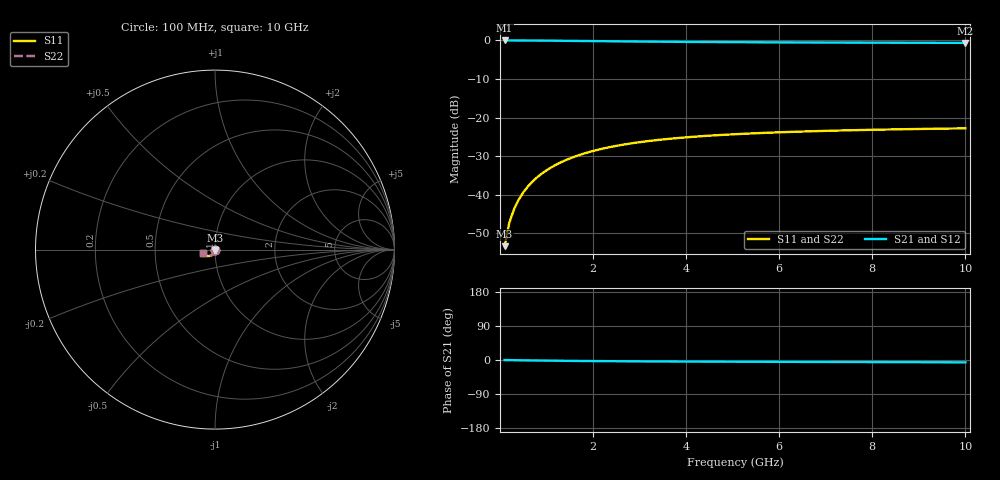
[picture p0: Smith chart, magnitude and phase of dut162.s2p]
! Touchstone file exported from HFSS 2024.1.0
!  File:  C:/UserFiles/LocalFiles/RDL_TSV_Batchsim/temp_TSV1_162_1778766070.aedt
!  Generated:  09:47:28 PM May 14, 2026
!  Design:  TSV1
!  Project:  temp_TSV1_162_1778766070
!  Setup:  Setup1
!  Solution:  Sweep
! Variables:
!  dtsv = 14.18um
!  hbump = 3um
!  htsv = 95.73um
!  lrdl = 252.1521522um
!  p = 40
!  p1 = 50.83um
!  t = 500um
!  trdl = 3um
!  wrdl = 24.89489489um
# GHz S MA R 50.000000
! Terminal data exported
! Port[1] = TSV22_T1
! Port[2] = TSV22_T2
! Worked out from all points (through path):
!   100 points, 100 MHz to 10 GHz, reference 50 ohm
!   highest |S21| = 0.00 dB at 100 MHz (marker M1); lowest = -0.6 dB at 10 GHz (marker M2)
!   lowest |S11| = -53.3 dB at 100 MHz (marker M3), VSWR 1.00, Z = 50 - j0.215 ohm
!   |S11| at or under -10 dB: start of sweep to end of sweep
!   |S22| runs from -53.3 to -22.8 dB; largest |S21 - S12| = 6e-15
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0.1  0.002152 -89.3  0.9998 -0.2  0.9998 -0.2  0.002152 -89.3
! Gamma 0 0 0 0
! Port Impedance 50 0 50 0
0.2  0.004302 -92.1  0.9996 -0.3  0.9996 -0.3  0.004302 -92.1
0.3  0.006449 -94.2  0.9993 -0.5  0.9993 -0.5  0.006449 -94.2
0.4  0.008582 -96.1  0.9988 -0.7  0.9988 -0.7  0.008582 -96.1
0.5  0.01069 -98.0  0.9982 -0.9  0.9982 -0.9  0.01069 -98.0
0.6  0.01278 -99.8  0.9975 -1.0  0.9975 -1.0  0.01278 -99.8
0.7  0.01482 -101.6  0.9967 -1.2  0.9967 -1.2  0.01482 -101.6
0.8  0.01683 -103.3  0.9958 -1.3  0.9958 -1.3  0.01683 -103.3
0.9  0.01879 -105.0  0.9949 -1.5  0.9949 -1.5  0.01879 -105.0
1.1  0.02257 -108.3  0.9927 -1.8  0.9927 -1.8  0.02257 -108.3
1.4  0.02784 -112.9  0.9891 -2.2  0.9891 -2.2  0.02784 -112.9
1.6  0.03108 -115.8  0.9865 -2.4  0.9865 -2.4  0.03108 -115.8
1.8  0.03409 -118.6  0.9838 -2.6  0.9838 -2.6  0.03409 -118.6
2.1  0.0382 -122.4  0.9798 -2.9  0.9798 -2.9  0.0382 -122.4
2.5  0.04297 -126.9  0.9746 -3.2  0.9746 -3.2  0.04297 -126.9
2.9  0.04704 -131.0  0.9697 -3.5  0.9697 -3.5  0.04704 -131.0
3.4  0.05129 -135.4  0.9641 -3.8  0.9641 -3.8  0.05129 -135.4
4.2  0.05662 -141.2  0.9566 -4.2  0.9566 -4.2  0.05662 -141.2
5.1  0.06107 -146.5  0.9498 -4.5  0.9498 -4.5  0.06107 -146.5
6.7  0.06649 -153.7  0.9411 -5.1  0.9411 -5.1  0.06649 -153.7
8.4  0.07017 -159.3  0.9349 -5.6  0.9349 -5.6  0.07017 -159.3
10  0.07251 -163.5  0.9308 -6.2  0.9308 -6.2  0.07252 -163.5
